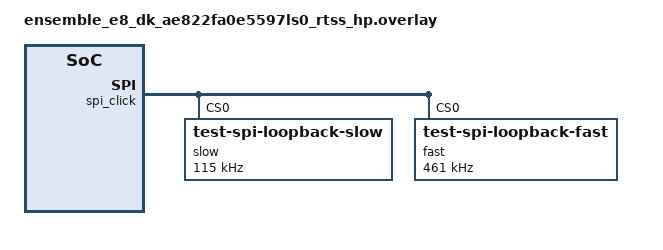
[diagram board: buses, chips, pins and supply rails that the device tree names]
/*
 * SPDX-FileCopyrightText: Copyright (c) 2026 Alif Semiconductor
 * SPDX-License-Identifier: Apache-2.0
 *
 * mikroe_i2c_to_spi_click: loopback on spi_click (I2C -> SC18IS602B).
 * Jumper MOSI to MISO on the Click extra SPI header (SS0).
 * CONFIG_SPI_LOOPBACK_MODE_LOOP stays n (bridge does not support SPI_MODE_LOOP).
 *
 * mikrobus_spi (SoC SPI3) is disabled: this test only uses spi_click; loopback
 * is on the Click header, not the mikroBUS SPI pins.
 */

&spi_click {
	slow@0 {
		compatible = "test-spi-loopback-slow";
		reg = <0>;
		spi-max-frequency = <115000>;
	};

	fast@0 {
		compatible = "test-spi-loopback-fast";
		reg = <0>;
		spi-max-frequency = <461000>;
	};
};

&mikrobus_spi {
	status = "disabled";
};
